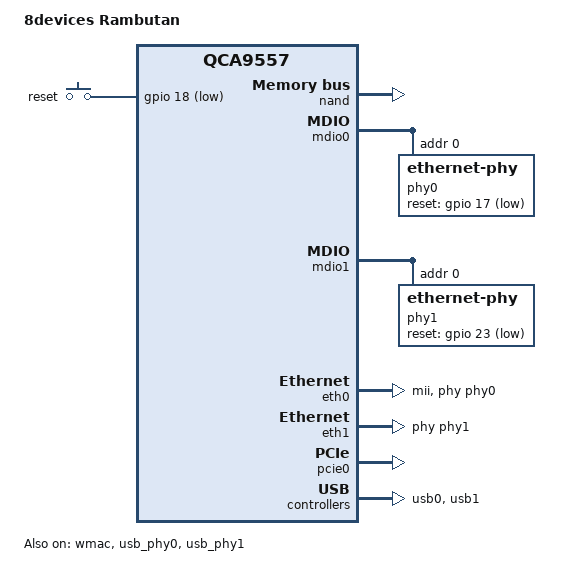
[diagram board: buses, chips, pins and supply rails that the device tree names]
// SPDX-License-Identifier: GPL-2.0-or-later OR MIT

#include "qca955x.dtsi"

#include <dt-bindings/gpio/gpio.h>
#include <dt-bindings/input/input.h>

/ {
	compatible = "8dev,rambutan", "qca,qca9557";
	model = "8devices Rambutan";

	keys {
		compatible = "gpio-keys";

		reset {
			label = "reset";
			gpios = <&gpio 18 GPIO_ACTIVE_LOW>;
			linux,code = <KEY_RESTART>;
			debounce-interval = <60>;
		};
	};
};

&nand {
	status = "okay";

	partitions {
		compatible = "fixed-partitions";

		#address-cells = <1>;
		#size-cells = <1>;

		partition@0 {
			label = "u-boot";
			reg = <0x0 0x300000>;
			read-only;
		};

		partition@300000 {
			label = "u-boot-env";
			reg = <0x300000 0x200000>;
		};

		art: partition@500000 {
			label = "art";
			reg = <0x500000 0x100000>;
			read-only;
		};

		partition@600000 {
			label = "ubi";
			reg = <0x600000 0x7a00000>;
		};
	};
};

&mdio0 {
	status = "okay";

	phy0: ethernet-phy@0 {
		reg = <0>;
		reset-gpios = <&gpio 17 GPIO_ACTIVE_LOW>;
	};
};

&mdio1 {
	status = "okay";

	phy1: ethernet-phy@0 {
		reg = <0>;
		reset-gpios = <&gpio 23 GPIO_ACTIVE_LOW>;
		phy-mode = "sgmii";
		at803x-override-sgmii-link-check;
	};
};

&eth0 {
	status = "okay";

	nvmem-cells = <&macaddr_art_0>;
	nvmem-cell-names = "mac-address";
	phy-mode = "mii";
	phy-handle = <&phy0>;
};

&eth1 {
	status = "okay";

	pll-data = <0x17000000 0x101 0x1313>;
	phy-handle = <&phy1>;
	qca955x-sgmii-fixup;
	nvmem-cells = <&macaddr_art_6>;
	nvmem-cell-names = "mac-address";
};

&wmac {
	status = "okay";

	gpio-controller;
	mtd-cal-data = <&art 0x1000>;
};

&pcie0 {
	status = "okay";
};

&usb_phy0 {
	status = "okay";
};

&usb0 {
	status = "okay";

	#address-cells = <1>;
	#size-cells = <0>;
};

&usb_phy1 {
	status = "okay";
};

&usb1 {
	status = "okay";

	#address-cells = <1>;
	#size-cells = <0>;
};

&art {
	compatible = "nvmem-cells";
	#address-cells = <1>;
	#size-cells = <1>;

	macaddr_art_0: macaddr@0 {
		reg = <0x0 0x6>;
	};

	macaddr_art_6: macaddr@6 {
		reg = <0x6 0x6>;
	};
};
